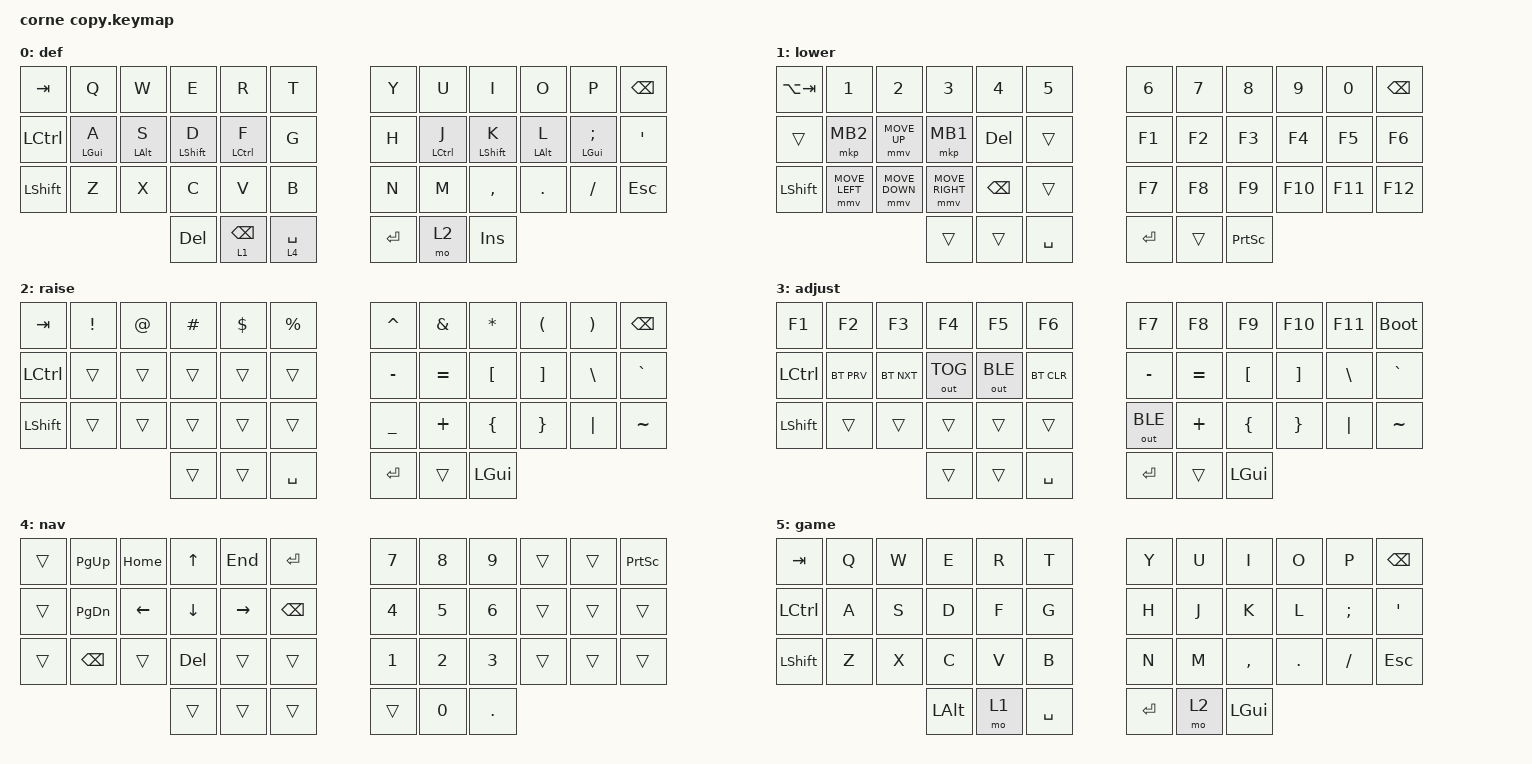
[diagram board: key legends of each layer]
/*
 * Copyright (c) 2020 The ZMK Contributors
 *
 * SPDX-License-Identifier: MIT
 */

#include "zmk-helpers/key-labels/42.h"

/*                                      42 KEY MATRIX / LAYOUT MAPPING

  ╭────────────────────────┬────────────────────────╮ ╭─────────────────────────┬─────────────────────────╮
  │  0   1   2   3   4   5 │  6   7   8   9  10  11 │ │ LT5 LT4 LT3 LT2 LT1 LT0 │ RT0 RT1 RT2 RT3 RT4 RT5 │
  │ 12  13  14  15  16  17 │ 18  19  20  21  22  23 │ │ LM5 LM4 LM3 LM2 LM1 LM0 │ RM0 RM1 RM2 RM3 RM4 RM5 │
  │ 24  25  26  27  28  29 │ 30  31  32  33  34  35 │ │ LB5 LB4 LB3 LB2 LB1 LB0 │ RB0 RB1 RB2 RB3 RB4 RB5 │
  ╰───────────╮ 36  37  38 │ 39  40  41 ╭───────────╯ ╰───────────╮ LH2 LH1 LH0 │ RH0 RH1 RH2 ╭───────────╯
              ╰────────────┴────────────╯                         ╰─────────────┴─────────────╯             */


#define KEYS_L LT0 LT1 LT2 LT3 LT4 LT5 LM0 LM1 LM2 LM3 LM4 LM5 LB0 LB1 LB2 LB3 LB4 LB5
#define KEYS_R RT0 RT1 RT2 RT3 RT4 RT5 RM0 RM1 RM2 RM3 RM4 RM5 RB0 RB1 RB2 RB3 RB4 RB5
#define THUMBS LH2 LH1 LH0 RH0 RH1 RH2 // Thumbs on 36+ keys.

#include "base.keymap"

ZMK_COMBO(esc , &kp ESC , LT5 LT4)


/ {
    chosen { zmk,physical-layout = &foostan_corne_6col_layout; };
    conditional_layers {
        compatible = "zmk,conditional-layers";

        tri_layer {
            if-layers = <1 2>;
            then-layer = <3>;
        };
    };

    keymap {
        compatible = "zmk,keymap";
// gasc
        default_layer {
            display-name = "def";
            // -----------------------------------------------------------------------------------------
            // |  TAB |  Q  |  W  |  E  |  R  |  T  |   |  Y  |  U   |  I  |  O  |  P  | BSPC |
            // | CTRL |  A  |  S  |  D  |  F  |  G  |   |  H  |  J   |  K  |  L  |  ;  |  '   |
            // | SHFT |  Z  |  X  |  C  |  V  |  B  |   |  N  |  M   |  ,  |  .  |  /  | ESC  |
            //                    | ALT | LWR | SPC |   | ENT | RSE  | GUI |
            bindings = <
&kp TAB       &kp Q         &kp W        &kp E         &kp R         &kp T             &kp Y    &kp U         &kp I             &kp O          &kp P           &kp BSPC
&kp LCTRL     &hml LGUI A   &hml LALT S  &hml LSHFT D  &hml LCTRL F  &kp G             &kp H    &hmr LCTRL J  &hmr LSHFT K      &hmr LALT L    &hmr LGUI SEMI  &kp SQT
&kp LSHFT     &kp Z         &kp X        &kp C         &kp V         &kp B             &kp N    &kp M         &kp COMMA         &kp DOT        &kp FSLH        &kp ESC
                                         &kp DEL       &lt 1 BSPC    &lt 4 SPACE       &kp RET  &mo 2         &kp INS
            >;
        };

        lower_layer {
            display-name = "lower";
            // -----------------------------------------------------------------------------------------
            // |  TAB |  1  |  2  |  3  |  4  |  5  |   |  6  |  7  |  8  |  9  |  0  | BSPC |
            // |      | Home| Up  | End | Del |     |   | LFT | DWN |  UP | RGT |     |      |
            // | SHFT | Left| Down|Right| BkSp|     |   |     |     |     |     |     |      |
            //                    | ALT | LWR | SPC |   | ENT | RSE  | GUI |

            bindings = <
&kp LA(TAB)  &kp N1          &kp N2          &kp N3           &kp N4    &kp N5           &kp N6   &kp N7  &kp N8    &kp N9   &kp N0   &kp BSPC
&trans       &mkp MB2        &mmv MOVE_UP    &mkp MB1         &kp DEL   &trans           &kp F1   &kp F2  &kp F3    &kp F4   &kp F5   &kp F6
&kp LSHFT    &mmv MOVE_LEFT  &mmv MOVE_DOWN  &mmv MOVE_RIGHT  &kp BSPC  &trans           &kp F7   &kp F8  &kp F9    &kp F10  &kp F11  &kp F12
                                             &trans           &trans    &kp SPACE        &kp RET  &trans  &kp PSCRN
            >;
        };

        raise_layer {
            display-name = "raise";
            // -----------------------------------------------------------------------------------------
            // |  TAB |  !  |  @  |  #  |  $  |  %  |   |  ^  |  &  |  *  |  (  |  )  | BSPC |
            // | CTRL |     |     |     |     |     |   |  -  |  =  |  [  |  ]  |  \  |  `   |
            // | SHFT |     |     |     |     |     |   |  _  |  +  |  {  |  }  | "|" |  ~   |
            //                    | ALT | LWR | SPC |   | ENT | RSE  | GUI |

            bindings = <
&kp TAB    &kp EXCL  &kp AT  &kp HASH  &kp DLLR  &kp PRCNT          &kp CARET  &kp AMPS   &kp ASTRK  &kp LPAR  &kp RPAR  &kp BSPC
&kp LCTRL  &trans    &trans  &trans    &trans    &trans             &kp MINUS  &kp EQUAL  &kp LBKT   &kp RBKT  &kp BSLH  &kp GRAVE
&kp LSHFT  &trans    &trans  &trans    &trans    &trans             &kp UNDER  &kp PLUS   &kp LBRC   &kp RBRC  &kp PIPE  &kp TILDE
                             &trans    &trans    &kp SPACE          &kp RET    &trans     &kp LGUI
            >;
        };

        adjust_layer {
            display-name = "adjust";
            // -----------------------------------------------------------------------------------------
            // |  F1  |  F2 |  F3 |  F4 |  F5 |  F6 |   |  F7 |  F8 |  F9 | F10 | F11 | bootloader |
            // | CTRL |BTNEX|BTPRE|OUTTO|     |BTCLR|   |  -  |  =  |  [  |  ]  |  \  |  `   |
            // | SHFT |     |     |     |     |     |   |  _  |  +  |  {  |  }  | "|" |  ~   |
            //                    | ALT | LWR | SPC |   | ENT | RSE  | GUI |

            bindings = <
&kp F1     &kp F2      &kp F3      &kp F4        &kp F5         &kp F6              &kp F7        &kp F8     &kp F9    &kp F10   &kp F11   &bootloader
&kp LCTRL  &bt BT_PRV  &bt BT_NXT  &out OUT_TOG  &out OUT_BLE   &bt BT_CLR          &kp MINUS     &kp EQUAL  &kp LBKT  &kp RBKT  &kp BSLH  &kp GRAVE
&kp LSHFT  &trans      &trans      &trans        &trans         &trans              &out OUT_BLE  &kp PLUS   &kp LBRC  &kp RBRC  &kp PIPE  &kp TILDE
                                   &trans        &trans         &kp SPACE           &kp RET       &trans     &kp LGUI
            >;
        };

        nav {
            display-name = "nav";
            bindings = <
&trans  &kp PG_UP &kp HOME  &kp UP    &kp END   &kp RET         &kp N7  &kp N8  &kp N9   &trans  &trans  &kp PRINTSCREEN
&trans  &kp PG_DN &kp LEFT  &kp DOWN  &kp RIGHT &kp BSPC        &kp N4  &kp N5  &kp N6   &trans  &trans  &trans
&trans  &kp BSPC  &trans    &kp DEL   &trans    &trans          &kp N1  &kp N2  &kp N3   &trans  &trans  &trans
                            &trans    &trans    &trans          &trans  &kp N0  &kp DOT
            >;
        };

        gaming {
            display-name = "game";
            // -----------------------------------------------------------------------------------------
            // |  TAB |  Q  |  W  |  E  |  R  |  T  |   |  Y  |  U   |  I  |  O  |  P  | BSPC |
            // | CTRL |  A  |  S  |  D  |  F  |  G  |   |  H  |  J   |  K  |  L  |  ;  |  '   |
            // | SHFT |  Z  |  X  |  C  |  V  |  B  |   |  N  |  M   |  ,  |  .  |  /  | ESC  |
            //                    | ALT | LWR | SPC |   | ENT | RSE  | GUI |

            bindings = <
&kp TAB    &kp Q  &kp W  &kp E         &kp R  &kp T             &kp Y    &kp U  &kp I      &kp O    &kp P     &kp BSPC
&kp LCTRL  &kp A  &kp S  &kp D         &kp F  &kp G             &kp H    &kp J  &kp K      &kp L    &kp SEMI  &kp SQT
&kp LSHFT  &kp Z  &kp X  &kp C         &kp V  &kp B             &kp N    &kp M  &kp COMMA  &kp DOT  &kp FSLH  &kp ESC
                         &kp LEFT_ALT  &mo 1  &kp SPACE         &kp RET  &mo 2  &kp LGUI
            >;
        };
    };
};
